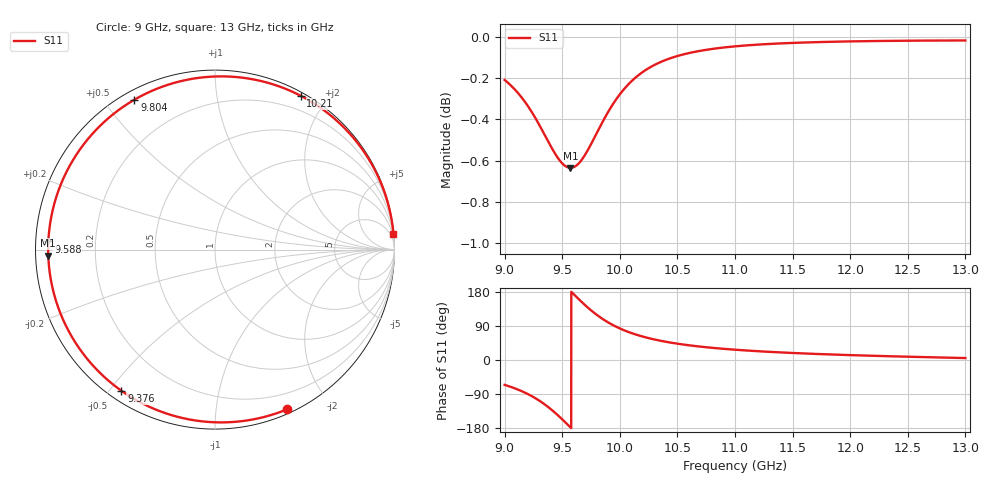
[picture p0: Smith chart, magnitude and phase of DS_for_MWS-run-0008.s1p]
! TOUCHSTONE file generated by CST DESIGN STUDIO
! Date and time: Tue Feb  4 15:46:13 2025
! Project name: C:\Work\MatlabApps\UnitCellOptimizationMatlab\CST\unitcell.cst
! Tree item: Tasks\Sweep1\SPara1\S-Parameters
! Header version: 2024
! Port assignment regex: !\s*Touchstone port\s*([0-9]+)\s*=\s*(CST MWS port|CST DES external port|CST DES block port)\s*(.+)\s* \(\"(.*)\"\)(\s*mode\s*([0-9]+))?.*
! Touchstone port assignment:
! Touchstone port 1 = CST DES external port 1 ("")
# GHz S MA R 50
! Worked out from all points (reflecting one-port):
!   4001 points, 9 GHz to 13 GHz, reference 50 ohm
!   lowest |S11| = -0.6 dB at 9.572 GHz (marker M1), VSWR 27.37, Z = 1.83 - j0.886 ohm
!   phase of S11 starts at -66 deg and turns -289 deg over the sweep
!   S11 on the Smith chart (normalised r, x): 9 GHz: 0.04, -1.55; 9.376 GHz: 0.04, -0.54; 9.588 GHz: 0.04, +0.02; 9.804 GHz: 0.04, +0.60; 10.21 GHz: 0.04, +1.70; 13 GHz: 0, +22
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9  0.9764 -65.6
9.044  0.9739 -69.9
9.111  0.9696 -77.4
9.227  0.9598 -93.9
9.306  0.9515 -108.3
9.376  0.9436 -123.5
9.437  0.937 -138.9
9.5  0.9318 -156.5
9.537  0.9301 -167.4
9.572  0.9295 -178.0
9.588  0.9296 177.2
9.643  0.9318 160.7
9.704  0.9368 143.3
9.754  0.9423 130.2
9.804  0.9482 118.3
9.847  0.9533 109.1
9.893  0.9584 100.2
10  0.9685 83.3
10.1  0.9756 71.2
10.21  0.9812 60.9
10.343  0.9859 51.4
10.5  0.9895 43.0
10.721  0.9927 34.6
11  0.9949 27.1
11.5  0.9968 18.5
12  0.9976 12.9
12.5  0.998 8.7
13  0.9982 5.1
